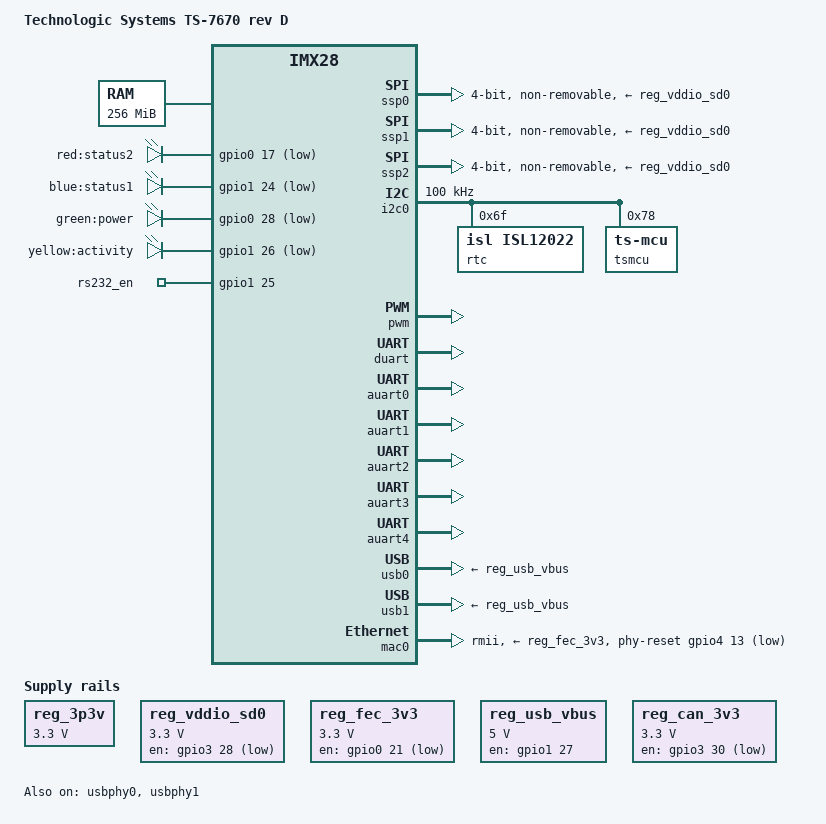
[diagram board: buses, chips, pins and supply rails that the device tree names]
/*
 * Copyright 2014 VRT Systems
 * Copyright 2012 Freescale Semiconductor, Inc.
 *
 * The code contained herein is licensed under the GNU General Public
 * License. You may obtain a copy of the GNU General Public License
 * Version 2 or later at the following locations:
 *
 * http://www.opensource.org/licenses/gpl-license.html
 * http://www.gnu.org/copyleft/gpl.html
 */

/dts-v1/;
#include "imx28.dtsi"

/ {
	model = "Technologic Systems TS-7670 rev D";
	compatible = "technologic,ts-7670d", "fsl,imx28";

	memory {
		reg = <0x40000000 0x10000000>;
	};

	aliases {
		/* Swap around rtc0 and rtc1 */
		rtc0 = &rtc;
		rtc1 = &mxs_rtc;
	};

	regulators {
		compatible = "simple-bus";
		#address-cells = <1>;
		#size-cells = <0>;

		reg_3p3v: regulator@0 {
			compatible = "regulator-fixed";
			reg = <0>;
			regulator-name = "3P3V";
			regulator-min-microvolt = <3300000>;
			regulator-max-microvolt = <3300000>;
			regulator-always-on;
		};

		reg_vddio_sd0: regulator@1 {
			compatible = "regulator-fixed";
			reg = <1>;
			regulator-name = "vddio-sd0";
			regulator-min-microvolt = <3300000>;
			regulator-max-microvolt = <3300000>;
			gpio = <&gpio3 28 0>;
			regulator-always-on;
		};

		reg_fec_3v3: regulator@2 {
			compatible = "regulator-fixed";
			reg = <2>;
			regulator-name = "fec-3v3";
			regulator-min-microvolt = <3300000>;
			regulator-max-microvolt = <3300000>;
			gpio = <&gpio0 21 0>;
			regulator-always-on;
		};

		reg_usb_vbus: regulator@3 {
			compatible = "regulator-fixed";
			reg = <3>;
			regulator-name = "usb_vbus";
			regulator-min-microvolt = <5000000>;
			regulator-max-microvolt = <5000000>;
			gpio = <&gpio1 27 0>;
			enable-active-high;
			regulator-always-on;
		};

		reg_can_3v3: regulator@7 {
			compatible = "regulator-fixed";
			reg = <7>;
			regulator-name = "can-3v3";
			regulator-min-microvolt = <3300000>;
			regulator-max-microvolt = <3300000>;
			gpio = <&gpio3 30 0>;
		};
	};

	leds {
		compatible = "gpio-leds";
		pinctrl-names = "default";
		pinctrl-0 = <&red_led_pin_gpio0_17
				&blue_led_pin_gpio1_24
				&green_led_pin_gpio0_28
				&yellow_led_pin_gpio1_26
				&rs232_en_led_pin_gpio1_26>;

		status2 {
			label = "red:status2";
			/* GPMI_CE1N */
			gpios = <&gpio0 17 1>;
			linux,default-trigger = "mmc1";
		};

		status1 {
			label = "blue:status1";
			/* LCD_RD_E */
			gpios = <&gpio1 24 1>;
			linux,default-trigger = "none";
		};

		power {
			label = "green:power";
			/* GPMI_RESETN */
			gpios = <&gpio0 28 1>;
			linux,default-trigger = "heartbeat";
		};

		activity {
			label = "yellow:activity";
			/* LCD_RS */
			gpios = <&gpio1 26 1>;
			linux,default-trigger = "mmc0";
		};

		/* Kludge, to permit turning RS-232 transceivers on/off */
		rs232_en {
			label = "rs232_en";
			/* LCD_RWM */
			gpios = <&gpio1 25 0>;
			linux,default-trigger = "default-on";
		};
	};
};

&pinctrl {
	mmc2_pins_ts7400: mmc2-4bit-nocd@0 {
		reg = <0>;
		fsl,pinmux-ids = <
			MX28_PAD_SSP0_DATA4__SSP2_D0
			MX28_PAD_SSP2_SS1__SSP2_D1
			MX28_PAD_SSP2_SS2__SSP2_D2
			MX28_PAD_SSP0_DATA5__SSP2_D3
			MX28_PAD_SSP0_DATA6__SSP2_CMD
			MX28_PAD_SSP0_DATA7__SSP2_SCK
		>;
		/*
		 * MX28_PAD_SSP0_DATA7__SSP2_SCK is
		 * handled by mmc2_sck_cfg_a
		 */
		fsl,drive-strength = <MXS_DRIVE_8mA>;
		fsl,voltage = <MXS_VOLTAGE_HIGH>;
		fsl,pull-up = <MXS_PULL_ENABLE>;
	};

	red_led_pin_gpio0_17: red_led_gpio0_17@0 {
		reg = <0>;
		fsl,pinmux-ids = <
			MX28_PAD_GPMI_CE1N__GPIO_0_17
		>;
		fsl,drive-strength = <MXS_DRIVE_4mA>;
		fsl,voltage = <MXS_VOLTAGE_HIGH>;
		fsl,pull-up = <MXS_PULL_DISABLE>;
	};

	blue_led_pin_gpio1_24: blue_led_gpio1_24@0 {
		reg = <0>;
		fsl,pinmux-ids = <
			MX28_PAD_LCD_RD_E__GPIO_1_24
		>;
		fsl,drive-strength = <MXS_DRIVE_4mA>;
		fsl,voltage = <MXS_VOLTAGE_HIGH>;
		fsl,pull-up = <MXS_PULL_DISABLE>;
	};

	green_led_pin_gpio0_28: green_led_gpio0_28@0 {
		reg = <0>;
		fsl,pinmux-ids = <
			MX28_PAD_GPMI_RESETN__GPIO_0_28
		>;
		fsl,drive-strength = <MXS_DRIVE_4mA>;
		fsl,voltage = <MXS_VOLTAGE_HIGH>;
		fsl,pull-up = <MXS_PULL_DISABLE>;
	};

	yellow_led_pin_gpio1_26: yellow_led_gpio1_26@0 {
		reg = <0>;
		fsl,pinmux-ids = <
			MX28_PAD_LCD_RS__GPIO_1_26
		>;
		fsl,drive-strength = <MXS_DRIVE_4mA>;
		fsl,voltage = <MXS_VOLTAGE_HIGH>;
		fsl,pull-up = <MXS_PULL_DISABLE>;
	};

	rs232_en_led_pin_gpio1_26: rs232_en_led_gpio1_25@0 {
		reg = <0>;
		fsl,pinmux-ids = <
			MX28_PAD_LCD_WR_RWN__GPIO_1_25
		>;
		fsl,drive-strength = <MXS_DRIVE_4mA>;
		fsl,voltage = <MXS_VOLTAGE_HIGH>;
		fsl,pull-up = <MXS_PULL_DISABLE>;
	};

	auart4_pins: auart4@0 {
		reg = <0>;
		fsl,pinmux-ids = <
			MX28_PAD_SAIF0_SDATA0__AUART4_TX
			MX28_PAD_SAIF0_BITCLK__AUART4_RX
		>;
		fsl,drive-strength = <MXS_DRIVE_4mA>;
		fsl,voltage = <MXS_VOLTAGE_HIGH>;
		fsl,pull-up = <MXS_PULL_DISABLE>;
	};
};

&ssp0 {
	/* SD card slot CN3 (bootable with SD BOOT jumper in place) */
	compatible = "fsl,imx28-mmc";
	pinctrl-names = "default";
	pinctrl-0 = <&mmc0_4bit_pins_a &mmc0_sck_cfg>;
	bus-width = <4>;
	vmmc-supply = <&reg_vddio_sd0>;
	status = "okay";
	broken-cd;
	non-removable;
};

&ssp1 {
	/* eMMC */
	compatible = "fsl,imx28-mmc";
	pinctrl-names = "default";
	pinctrl-0 = <&mmc1_4bit_pins_a &mmc1_sck_cfg>;
	bus-width = <4>;
	vmmc-supply = <&reg_vddio_sd0>;
	status = "okay";
	broken-cd;
	non-removable;
};

&ssp2 {
	/* SD card slot CN4 (not bootable) */
	compatible = "fsl,imx28-mmc";
	pinctrl-names = "default";
	pinctrl-0 = <&mmc2_pins_ts7400 &mmc2_sck_cfg_a>;
	bus-width = <4>;
	vmmc-supply = <&reg_vddio_sd0>;
	status = "okay";
	broken-cd;
	non-removable;
};

&i2c0 {
	pinctrl-names = "default";
	pinctrl-0 = <&i2c0_pins_a>;
	clock-frequency = <100000>;
	status = "okay";

	rtc: isl12022@6f {
		compatible = "isl,isl12022";
		reg = <0x6f>;
	};

	tsmcu: tsmcu@78 {
		compatible = "ts-mcu";
		reg = <0x78>;
	};
};

&pwm {
	pinctrl-names = "default";
	pinctrl-0 = <&pwm2_pins_a>;
	status = "okay";
};

&duart {
	pinctrl-names = "default";
	pinctrl-0 = <&duart_pins_a>;
	status = "okay";
};

&auart0 {
	pinctrl-names = "default";
	pinctrl-0 = <&auart0_pins_a>;
	fsl,uart-has-rtscts;
	status = "okay";
};

&auart1 {
	pinctrl-names = "default";
	pinctrl-0 = <&auart1_2pins_a>;
	status = "okay";
};

&auart2 {
	pinctrl-names = "default";
	pinctrl-0 = <&auart2_2pins_a>;
	pwms = <&pwm 2 9600 0>;
	status = "okay";
};

&auart3 {
	pinctrl-names = "default";
	pinctrl-0 = <&auart3_2pins_a>;
	status = "okay";
};

&auart4 {
	pinctrl-names = "default";
	pinctrl-0 = <&auart4_pins>;
	status = "okay";
};

&usbphy0 {
	status = "okay";
};

&usbphy1 {
	status = "okay";
};

&usb0 {
	vbus-supply = <&reg_usb_vbus>;
	status = "okay";
};

&usb1 {
	vbus-supply = <&reg_usb_vbus>;
	status = "okay";
};

&mac0 {
	phy-mode = "rmii";
	pinctrl-names = "default";
	pinctrl-0 = <&mac0_pins_a>;
	phy-supply = <&reg_fec_3v3>;
	phy-reset-gpios = <&gpio4 13 0>;
	phy-reset-duration = <100>;
	status = "okay";
};
